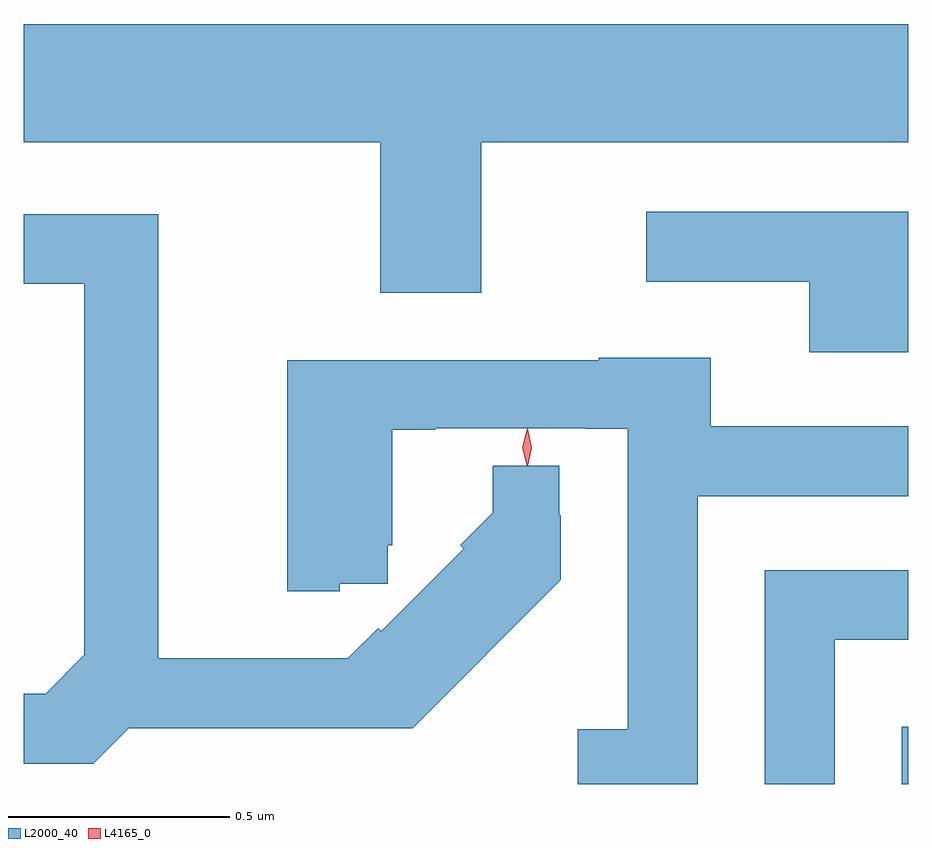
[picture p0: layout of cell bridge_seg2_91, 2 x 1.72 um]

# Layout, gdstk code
import gdstk
lib = gdstk.Library(unit=1e-6, precision=1e-09)
def R(c, l, rs):  # rectangles x0, y0, x1, y1
    for r in rs: c.add(gdstk.rectangle(r[:2], r[2:], *l))
def P(c, l, *ps):  # polygons
    for p in ps: c.add(gdstk.Polygon(p, *l))
L2000_40 = (2000, 40)
L4165_0 = (4165, 0)

bridge_seg2_91 = lib.new_cell('bridge_seg2_91')
R(bridge_seg2_91, L2000_40, [(1217.291,1111.245,1217.305,1111.374)])
P(bridge_seg2_91, L2000_40, [(1216.339,1112.696),(1217.305,1112.696),(1217.305,1112.964),(1215.305,1112.964),(1215.305,1112.696),(1216.111,1112.696),(1216.111,1112.356),(1216.339,1112.356)],
  [(1217.305,1112.539),(1216.713,1112.539),(1216.713,1112.381),(1217.081,1112.381),(1217.081,1112.221),(1217.305,1112.221)],
  [(1215.542,1111.371),(1216.184,1111.371),(1216.519,1111.707),(1216.519,1111.853),(1216.516,1111.853),(1216.516,1111.965),(1216.365,1111.965),(1216.365,1111.859),(1216.292,1111.785),(1216.3,1111.777),(1216.113,1111.591),(1216.106,1111.597),(1216.038,1111.529),(1215.609,1111.529),(1215.609,1112.534),(1215.305,1112.534),(1215.305,1112.376),(1215.441,1112.376),(1215.441,1111.537),(1215.354,1111.449),(1215.305,1111.449),(1215.305,1111.291),(1215.462,1111.291)],
  [(1216.829,1111.896),(1217.305,1111.896),(1217.305,1112.054),(1216.859,1112.054),(1216.859,1112.209),(1216.605,1112.209),(1216.605,1112.204),(1215.901,1112.204),(1215.901,1111.681),(1216.02,1111.681),(1216.02,1111.698),(1216.128,1111.698),(1216.128,1111.785),(1216.138,1111.785),(1216.138,1112.046),(1216.235,1112.046),(1216.235,1112.05),(1216.575,1112.05),(1216.575,1112.049),(1216.671,1112.049),(1216.671,1111.369),(1216.558,1111.369),(1216.558,1111.245),(1216.829,1111.245)],
  [(1217.139,1111.571),(1217.305,1111.571),(1217.305,1111.729),(1216.981,1111.729),(1216.981,1111.245),(1217.139,1111.245)])
P(bridge_seg2_91, L4165_0, [(1216.442,1111.966),(1216.442,1111.967),(1216.432,1112.006),(1216.442,1112.046),(1216.442,1112.046),(1216.443,1112.046),(1216.452,1112.006),(1216.442,1111.967)],
  [(1216.444,1111.964),(1216.444,1111.964),(1216.435,1112.006),(1216.444,1112.048),(1216.445,1112.049),(1216.445,1112.048),(1216.454,1112.006),(1216.445,1111.964)])

lib.write_gds('bridge_seg2_91.gds')
